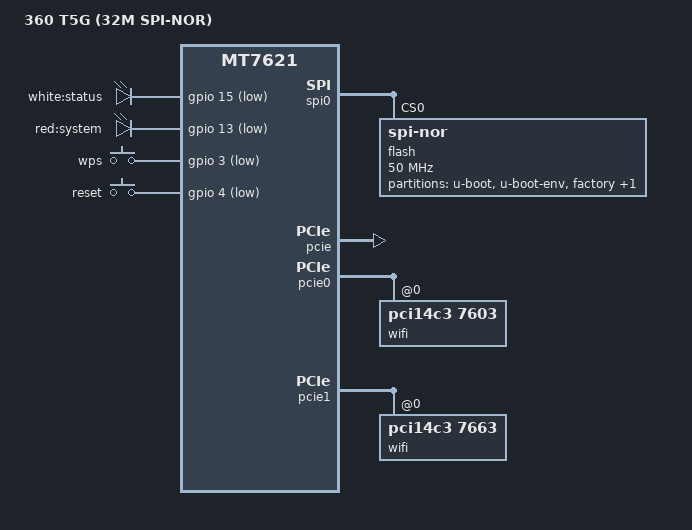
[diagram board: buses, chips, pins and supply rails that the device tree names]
// SPDX-License-Identifier: GPL-2.0-or-later OR MIT

#include "mt7621.dtsi"

#include <dt-bindings/gpio/gpio.h>
#include <dt-bindings/input/input.h>

/ {
	compatible = "360,t5g", "mediatek,mt7621-soc";
	model = "360 T5G (32M SPI-NOR)";

	aliases {
		led-boot = &led_system;
		led-failsafe = &led_system;
		led-running = &led_status;
		led-upgrade = &led_status;
		label-mac-device = &wan;
	};

	chosen {
		bootargs = "console=ttyS0,115200n8";
	};

	leds {
		compatible = "gpio-leds";

		led_status: status {
			label = "white:status";
			gpios = <&gpio 15 GPIO_ACTIVE_LOW>;
		};

		led_system: system {
			label = "red:system";
			gpios = <&gpio 13 GPIO_ACTIVE_LOW>;
			panic-indicator;
		};
	};

	keys {
		compatible = "gpio-keys";

		wps {
			label = "wps";
			gpios = <&gpio 3 GPIO_ACTIVE_LOW>;
			linux,code = <KEY_WPS_BUTTON>;
		};

		reset {
			label = "reset";
			gpios = <&gpio 4 GPIO_ACTIVE_LOW>;
			linux,code = <KEY_RESTART>;
		};
	};
};

/* 启用 SPI 控制器并挂载 32MB SPI-NOR Flash */
&spi0 {
	status = "okay";

	flash@0 {
		compatible = "jedec,spi-nor";
		reg = <0>;
		spi-max-frequency = <50000000>;
		m25p,fast-read;

		partitions {
			compatible = "fixed-partitions";
			#address-cells = <1>;
			#size-cells = <1>;

			partition@0 {
				label = "u-boot";
				reg = <0x0 0x30000>;
				read-only;
			};

			partition@30000 {
				label = "u-boot-env";
				reg = <0x30000 0x10000>;
				read-only;
			};

			factory: partition@40000 {
				label = "factory";
				reg = <0x40000 0x10000>;
				read-only;
			};

			firmware: partition@50000 {
				compatible = "denx,uimage";
				label = "firmware";
				/* 32MB(0x2000000) - 320KB(0x50000) = 0x1fb0000 */
				reg = <0x50000 0x1fb0000>;
			};
		};
	};
};

/* 开启 PCIe 总线以支持无线网卡 */
&pcie {
	status = "okay";
};

&pcie0 {
	wifi@0,0 {
	status = "okay";
		compatible = "pci14c3,7603";
		reg = <0x0000 0 0 0 0>;
		mediatek,mtd-eeprom = <&factory 0x0000>;
		ieee80211-freq-limit = <2400000 2500000>;
	};
};

&pcie1 {
	wifi@0,0 {
	status = "okay";
		compatible = "pci14c3,7663";
		reg = <0x0000 0 0 0 0>;
		mediatek,mtd-eeprom = <&factory 0x8000>;
		ieee80211-freq-limit = <5000000 6000000>;
	};
};

&gmac0 {
	nvmem-cells = <&macaddr_factory_e000>;
	nvmem-cell-names = "mac-address";
};

&switch0 {
	ports {
		wan: port@0 {
			status = "okay";
			label = "wan";
			nvmem-cells = <&macaddr_factory_e006>;
			nvmem-cell-names = "mac-address";
		};

		port@1 {
			status = "okay";
			label = "lan1";
		};

		port@2 {
			status = "okay";
			label = "lan2";
		};
	};
};

/* 管脚复用：解除 JTAG/UART/WDT 对 GPIO 的占用 */
&state_default {
	gpio {
		groups = "jtag", "uart2", "uart3", "wdt";
		function = "gpio";
	};
};

&factory {
	compatible = "nvmem-cells";
	#address-cells = <1>;
	#size-cells = <1>;

	macaddr_factory_e000: macaddr@e000 {
		reg = <0xe000 0x6>;
	};

	macaddr_factory_e006: macaddr@e006 {
		reg = <0xe006 0x6>;
	};
};
